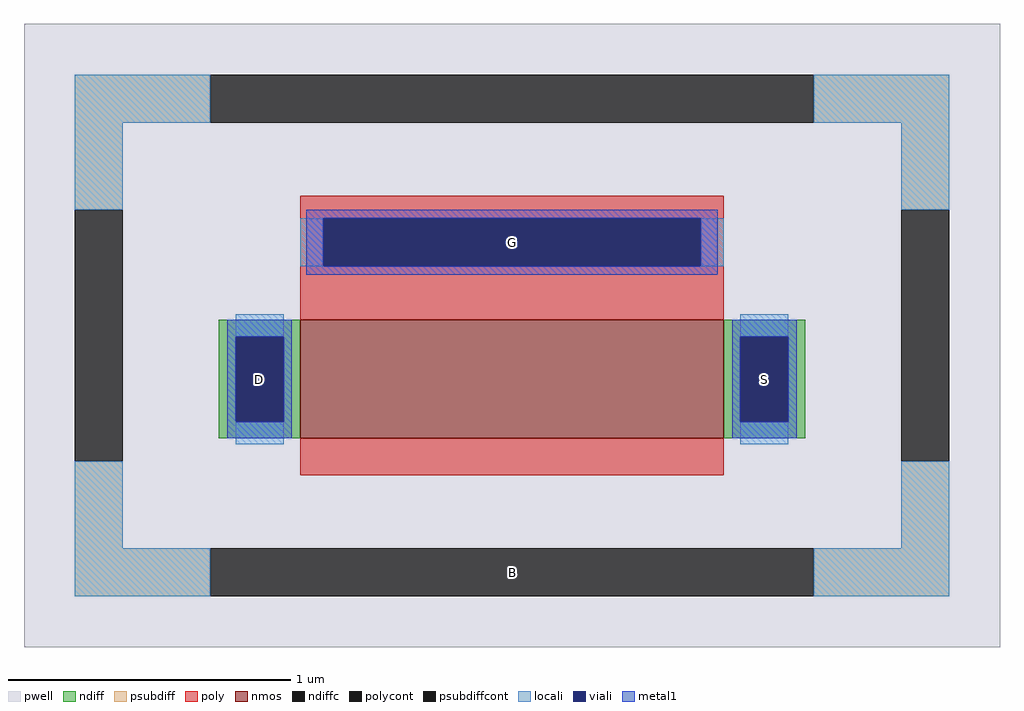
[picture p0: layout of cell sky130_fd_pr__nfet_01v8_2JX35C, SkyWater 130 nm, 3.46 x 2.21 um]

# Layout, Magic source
magic
tech sky130A
magscale 1 2
<< pwell >>
rect -346 -221 346 221
<< nmos >>
rect -150 -73 150 11
<< ndiff >>
rect -208 -1 -150 11
rect -208 -61 -196 -1
rect -162 -61 -150 -1
rect -208 -73 -150 -61
rect 150 -1 208 11
rect 150 -61 162 -1
rect 196 -61 208 -1
rect 150 -73 208 -61
<< ndiffc >>
rect -196 -61 -162 -1
rect 162 -61 196 -1
<< psubdiff >>
rect -310 151 -214 185
rect 214 151 310 185
rect -310 89 -276 151
rect 276 89 310 151
rect -310 -151 -276 -89
rect 276 -151 310 -89
rect -310 -185 -214 -151
rect 214 -185 310 -151
<< psubdiffcont >>
rect -214 151 214 185
rect -310 -89 -276 89
rect 276 -89 310 89
rect -214 -185 214 -151
<< poly >>
rect -150 83 150 99
rect -150 49 -134 83
rect 134 49 150 83
rect -150 11 150 49
rect -150 -99 150 -73
<< polycont >>
rect -134 49 134 83
<< locali >>
rect -310 151 -214 185
rect 214 151 310 185
rect -310 89 -276 151
rect 276 89 310 151
rect -150 49 -134 83
rect 134 49 150 83
rect -196 -1 -162 15
rect -196 -77 -162 -61
rect 162 -1 196 15
rect 162 -77 196 -61
rect -310 -151 -276 -89
rect 276 -151 310 -89
rect -310 -185 -214 -151
rect 214 -185 310 -151
<< viali >>
rect -134 49 134 83
rect -196 -61 -162 -1
rect 162 -61 196 -1
<< metal1 >>
rect -146 83 146 89
rect -146 49 -134 83
rect 134 49 146 83
rect -146 43 146 49
rect -202 -1 -156 11
rect -202 -61 -196 -1
rect -162 -61 -156 -1
rect -202 -73 -156 -61
rect 156 -1 202 11
rect 156 -61 162 -1
rect 196 -61 202 -1
rect 156 -73 202 -61
<< labels >>
rlabel psubdiffcont 0 -168 0 -168 0 B
port 1 nsew
rlabel ndiffc -179 -31 -179 -31 0 D
port 2 nsew
rlabel ndiffc 179 -31 179 -31 0 S
port 3 nsew
rlabel polycont 0 66 0 66 0 G
port 4 nsew
<< properties >>
string FIXED_BBOX -293 -168 293 168
string gencell sky130_fd_pr__nfet_01v8
string library sky130
string parameters w 0.42 l 1.5 m 1 nf 1 diffcov 100 polycov 100 guard 1 glc 1 grc 1 gtc 1 gbc 1 tbcov 100 rlcov 100 topc 1 botc 0 poverlap 0 doverlap 1 lmin 0.15 wmin 0.42 class mosfet compatible {sky130_fd_pr__nfet_01v8 sky130_fd_pr__nfet_01v8_lvt  sky130_fd_bs_flash__special_sonosfet_star  sky130_fd_pr__nfet_g5v0d10v5 sky130_fd_pr__nfet_05v0_nvt  sky130_fd_pr__nfet_03v3_nvt} full_metal 1 conn_gates 0 viasrc 100 viadrn 100 viagate 100 viagb 0 viagr 0 viagl 0 viagt 0 doports 1
<< end >>
